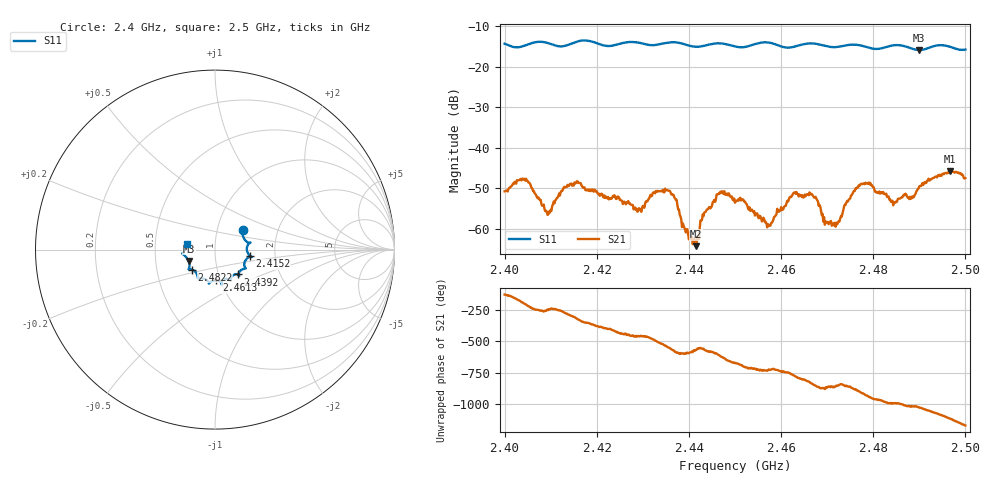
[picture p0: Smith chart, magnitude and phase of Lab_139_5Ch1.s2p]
# Hz S RI R 50
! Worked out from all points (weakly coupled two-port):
!   601 points, 2.4 GHz to 2.5 GHz, reference 50 ohm
!   highest |S21| = -45.88 dB at 2.4967 GHz (marker M1); lowest = -64.3 dB at 2.4415 GHz (marker M2)
!   lowest |S11| = -15.9 dB at 2.49 GHz (marker M3), VSWR 1.38, Z = 36.9 - j4.84 ohm
!   |S11| at or under -10 dB: start of sweep to end of sweep
!   S12 and S22 are empty: the file has one direction only
!   S11 on the Smith chart (normalised r, x): 2.4 GHz: 1.33, +0.31; 2.4152 GHz: 1.48, -0.11; 2.4392 GHz: 1.23, -0.35; 2.4613 GHz: 0.96, -0.34; 2.4822 GHz: 0.76, -0.17; 2.5 GHz: 0.72, +0.05
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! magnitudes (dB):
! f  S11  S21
! 2.4 GHz  -14.4  -50.8
! 2.4045 GHz  -14.8  -48.2
! 2.4093 GHz  -14.2  -56.6
! 2.4152 GHz  -14.1  -48.6
! 2.4167 GHz  -13.6  -49.3
! 2.4292 GHz  -14.1  -55.0
! 2.4333 GHz  -14.6  -50.8
! 2.4368 GHz  -14.0  -52.3
! 2.4392 GHz  -14.5  -60.2
! 2.4415 GHz  -15.1  -64.3
! 2.4465 GHz  -14.3  -51.3
! 2.45 GHz  -15.0  -53.6
! 2.4573 GHz  -14.1  -59.3
! 2.4613 GHz  -15.3  -53.1
! 2.4667 GHz  -14.3  -51.4
! 2.4715 GHz  -15.2  -59.2
! 2.4773 GHz  -14.8  -48.9
! 2.4822 GHz  -15.4  -51.0
! 2.4833 GHz  -15.0  -52.0
! 2.49 GHz  -15.9  -49.5
! 2.4967 GHz  -15.1  -45.9
! 2.5 GHz  -15.8  -47.5
